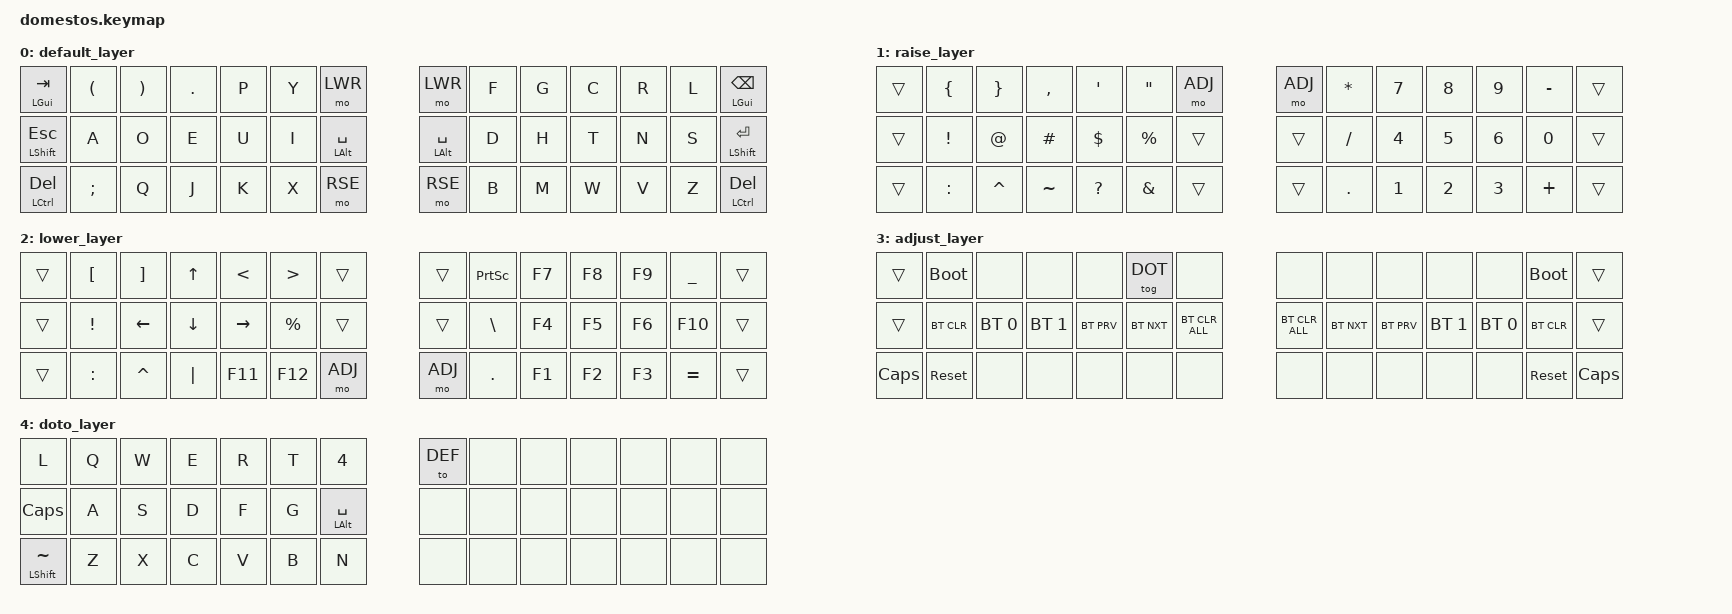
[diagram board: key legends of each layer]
#include <behaviors.dtsi>
#include <dt-bindings/zmk/bt.h>
#include <dt-bindings/zmk/keys.h>

#define DEF 0
#define LWR 1
#define RSE 2
#define ADJ 3
#define DOT 4

&lt {
    quick-tap-ms = <200>;
};

&mt {
    quick-tap-ms = <200>;
};

/ {
    conditional_layers {
        compatible = "zmk,conditional-layers";

        tri-layer {
            if-layers = <1 2>;
            then-layer = <3>;
        };
    };
    keymap {
        compatible = "zmk,keymap";

        default_layer {
// ---------------------------------------------------------------------------------------------------------------------------------
// |  SUP/TAB    |  (  |  )  |  .   |  P   |  Y   |  LOWER   |                                    |  LOWER   |  F   |  G    |  C    |  R   |   L   |   SUP/BACKSPACE  |
// |  SHIFT/ESC  |  A  |  O  |  E   |  U   |  I   |ALT/SPACE |                                    |ALT/SPACE |  D   |  H    |  T    |  N   |   S   |   SHIFT/ENTER  |
// |  CTRL/DELET |  ;  |  Q  |  J   |  K   |  X   |  RAISE   |                                    |  RAISE   |  B   |  M    |  W    |  V   |   Z   | CTRL/DELETE |

            bindings = <
                &mt LGUI TAB    &kp LPAR  &kp RPAR  &kp PERIOD  &kp P  &kp Y  &mo LWR         &mo LWR         &kp F  &kp G  &kp C  &kp R  &kp L  &mt LGUI BSPC 
                &mt LSHIFT ESC  &kp A     &kp O     &kp E       &kp U  &kp I  &mt LALT SPACE  &mt LALT SPACE  &kp D  &kp H  &kp T  &kp N  &kp S  &mt LSHIFT RET
                &mt LCTRL DEL   &kp SEMI  &kp Q     &kp J       &kp K  &kp X  &mo RSE         &mo RSE         &kp B  &kp M  &kp W  &kp V  &kp Z  &mt LCTRL DEL
            >;


        };
        raise_layer {
// ---------------------------------------------------------------------------------------------------------------------------------
// |       |   {  |   }  |   ,  |   '  |   "  |ADJ_layer|                                        |ADJ_layer|   *  |  7   |   8  |   9  |   -  |     |
// |       |   !  |   @  |   #  |   $  |   %  |         |                                        |         |   /  |  4   |   5  |   6  |   0  |     |
// |       |   :  |   ^  |   ~  |   ?  |   &  |         |                                        |         |   .  |  1   |   2  |   3  |   +  |     |

            bindings = <
                &trans  &kp LBRC   &kp RBRC   &kp COMMA  &kp SQT    &kp DQT    &mo ADJ             &mo ADJ  &kp ASTRK  &kp N7  &kp N8  &kp N9  &kp MINUS  &trans
                &trans  &kp EXCL   &kp AT     &kp HASH   &kp DLLR   &kp PRCNT  &trans              &trans   &kp FSLH   &kp N4  &kp N5  &kp N6  &kp N0     &trans
                &trans  &kp COLON  &kp CARET  &kp TILDE  &kp QMARK  &kp AMPS   &trans              &trans   &kp PERIOD    &kp N1  &kp N2  &kp N3  &kp PLUS   &trans
            >;

        };
        lower_layer {
// ---------------------------------------------------------------------------------------------------------------------------------
// |       |  [  |   ]  |   ^  |   <  |   >  |         |                                       |         |PSCRN |  F7   |   F8  |   F9  |   _  |     |
// |       |  !  |   <- |   v  |   -> |   %  |         |                                       |         |   \  |  F4   |   F5  |   F6  | F10  |     |
// |       |  :  |   ^  | "|"  |  F11 |  F12 |ADJ_layer|                                       |ADJ_layer|   .  |  F1   |   F2  |   F3  |   =  |     |

            bindings = <
                &trans  &kp LBKT   &kp RBKT   &kp UP     &kp LT     &kp GT     &trans          &trans   &kp PSCRN  &kp F7  &kp F8  &kp F9  &kp UNDER  &trans
                &trans  &kp EXCL   &kp LEFT   &kp DOWN   &kp RIGHT  &kp PRCNT  &trans          &trans   &kp BSLH   &kp F4  &kp F5  &kp F6  &kp F10    &trans
                &trans  &kp COLON  &kp CARET  &kp PIPE  &kp F11    &kp F12    &mo ADJ         &mo ADJ  &kp PERIOD    &kp F1  &kp F2  &kp F3  &kp EQUAL  &trans
            >;

        };
        adjust_layer {
// ---------------------------------------------------------------------------------------------------------------------------------
// |       |bootloader|        |        |      |  DOTo  |          |                   |          |      |      |        |        |bootloader|      |
// |       |  BT_CLR  |BT_SEL 0|BT_SEL 1|BT_PRV| BT_NXT |BT_CLR_ALL|                   |BT_CLR_ALL|BT_NXT|BT_PRV|BT_SEL 1|BT_SEL 0|  BT_CLR  |      |
// |  CAPS |sys_reset |        |        |      |        |          |                   |          |      |      |        |        | sys_reset| CAPS |

            bindings = <
                &trans   &bootloader   &none          &none          &none          &tog DOT          &none          &none          &none          &none          &none          &none          &bootloader &trans
                &trans   &bt BT_CLR    &bt BT_SEL 0   &bt BT_SEL 1   &bt BT_PRV   &bt BT_NXT   &bt BT_CLR_ALL   &bt BT_CLR_ALL   &bt BT_NXT   &bt BT_PRV   &bt BT_SEL 1   &bt BT_SEL 0   &bt BT_CLR &trans
                &kp CAPS &sys_reset    &none          &none          &none          &none          &none          &none          &none          &none          &none          &none          &sys_reset &kp CAPS
            >;

        };
        doto_layer {
// ---------------------------------------------------------------------------------------------------------------------------------
// |   l   |  q  |   w  |   e  |   r  |   t  |    n    |                                       | DEF  |     |     |     |     |     |     |
// |  caps |  a  |   s  |   d  |   f  |   g  |ALT/SPACE|                                       |      |     |     |     |     |     |     |
// | shift |  z  |   x  |   c  |   v  |   b  |    4    |                                       |      |     |     |     |     |     |     |

            bindings = <
                &kp L  &kp Q    &kp W   &kp E   &kp R    &kp T      &kp N4                &to DEF   &none    &none    &none    &none    &none    &none
                &kp CAPS    &kp A   &kp S   &kp D   &kp F    &kp G      &mt LALT SPACE        &none      &none    &none    &none    &none    &none    &none
                &mt LSHIFT TILDE    &kp Z   &kp X   &kp C    &kp V      &kp B     &kp N       &none      &none    &none    &none    &none    &none    &none
            >;

        };

    };
};
